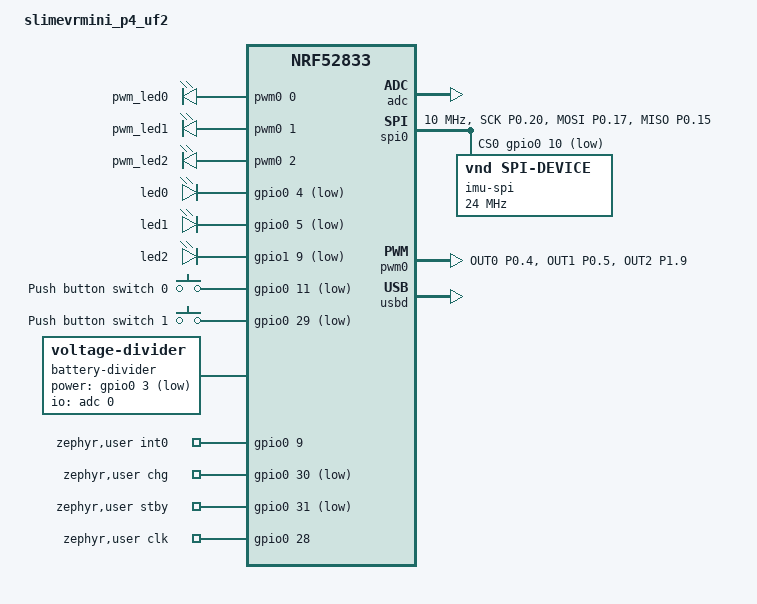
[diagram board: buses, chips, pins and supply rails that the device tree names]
// Copyright (c) 2024 Nordic Semiconductor ASA
// SPDX-License-Identifier: Apache-2.0

/dts-v1/;
#include <nordic/nrf52833_qdaa.dtsi>

//move to dtsi?
&pinctrl {
	spi0_default: spi0_default {
		group1 {
			psels = <NRF_PSEL(SPIM_SCK, 0, 20)>,
					<NRF_PSEL(SPIM_MOSI, 0, 17)>,
					<NRF_PSEL(SPIM_MISO, 0, 15)>;
		};
	};

	spi0_sleep: spi0_sleep {
		group1 {
			psels = <NRF_PSEL(SPIM_SCK, 0, 20)>,
					<NRF_PSEL(SPIM_MOSI, 0, 17)>,
					<NRF_PSEL(SPIM_MISO, 0, 15)>;
			low-power-enable;
		};
	};

	pwm0_default: pwm0_default {
		group1 {
			psels = <NRF_PSEL(PWM_OUT0, 0, 4)>,
					<NRF_PSEL(PWM_OUT1, 0, 5)>,
					<NRF_PSEL(PWM_OUT2, 1, 9)>;
			nordic,drive-mode = <NRF_DRIVE_D0S1>;
			nordic,invert;
		};
	};

	pwm0_sleep: pwm0_sleep {
		group1 {
			psels = <NRF_PSEL(PWM_OUT0, 0, 4)>,
					<NRF_PSEL(PWM_OUT1, 0, 5)>,
					<NRF_PSEL(PWM_OUT2, 1, 9)>;
			low-power-enable;
		};
	};
};
//end

/ {
	model = "slimevrmini_p4_uf2";
	compatible = "slimevrmini_p4_uf2";

	chosen {
		zephyr,sram = &sram0;
		zephyr,flash = &flash0;
		zephyr,console = &cdc_acm_uart0;
		zephyr,shell-uart = &cdc_acm_uart0;
	};

	pwmleds {
		compatible = "pwm-leds";
		pwm_led0: pwm_led_0 {
			pwms = <&pwm0 0 PWM_MSEC(1) PWM_POLARITY_INVERTED>;
		};
		pwm_led1: pwm_led_1 {
			pwms = <&pwm0 1 PWM_MSEC(1) PWM_POLARITY_INVERTED>;
		};
		pwm_led2: pwm_led_2 {
			pwms = <&pwm0 2 PWM_MSEC(1) PWM_POLARITY_INVERTED>;
		};
	};

    leds {
        compatible = "gpio-leds";
        led0: led_0 {
            gpios = <&gpio0 4 (GPIO_OPEN_DRAIN | GPIO_ACTIVE_LOW)>;
        };
        led1: led_1 {
            gpios = <&gpio0 5 (GPIO_OPEN_DRAIN | GPIO_ACTIVE_LOW)>;
        };
        led2: led_2 {
            gpios = <&gpio1 9 (GPIO_OPEN_DRAIN | GPIO_ACTIVE_LOW)>;
        };
    };

	buttons {
		compatible = "gpio-keys";
		button0: button_0 {
			gpios = <&gpio0 11 (GPIO_PULL_UP | GPIO_ACTIVE_LOW)>;
			label = "Push button switch 0";
		};
		button1: button_1 {
			gpios = <&gpio0 29 (GPIO_PULL_UP | GPIO_ACTIVE_LOW)>;
			label = "Push button switch 1";
		};
	};

	aliases {
		sw0 = &button0;
		sw1 = &button1;
		pwm-led0 = &pwm_led0;
		pwm-led1 = &pwm_led1;
		pwm-led2 = &pwm_led2;
		led0 = &led0;
		led1 = &led1;
		led2 = &led2;
	};

	battery-divider {
		compatible = "voltage-divider";
		status = "okay";
		io-channels = <&adc 0>;
		output-ohms = <40200>;
		full-ohms = <(100000+40200)>;
		power-gpios = <&gpio0 3 (GPIO_OPEN_DRAIN | GPIO_ACTIVE_LOW)>;
	};

	zephyr,user {
		int0-gpios = <&gpio0 9 0>;
		chg-gpios = <&gpio0 30 (GPIO_ACTIVE_LOW | GPIO_PULL_UP)>;
		stby-gpios = <&gpio0 31 (GPIO_ACTIVE_LOW | GPIO_PULL_UP)>;
		clk-gpios = <&gpio0 28 (GPIO_OPEN_DRAIN)>;
	};
};

&reg1 {
	regulator-initial-mode = <NRF5X_REG_MODE_DCDC>;
};

&adc {
	status = "okay";
};

&gpiote {
	status = "okay";
};

&gpio0 {
	status = "okay";
};

&gpio1 {
	status = "okay";
};

&spi0 {
	status = "okay";
	compatible = "nordic,nrf-spim";
	cs-gpios = <&gpio0 10 GPIO_ACTIVE_LOW>;

	pinctrl-0 = <&spi0_default>;
	pinctrl-1 = <&spi0_sleep>;
	pinctrl-names = "default", "sleep";

	clock-frequency = < DT_FREQ_M(10) >;

	imu_spi: imu_spi@0 {
		status = "okay";
		compatible = "vnd,spi-device";
		label = "imu-spi";
		reg = <0>;

		spi-max-frequency = <DT_FREQ_M(24)>;

		// MAG on aux I2C yet not supported #77
	};
};

&pwm0 {
	status = "okay";
	pinctrl-0 = <&pwm0_default>;
	pinctrl-1 = <&pwm0_sleep>;
	pinctrl-names = "default", "sleep";
};

zephyr_udc0: &usbd {
	compatible = "nordic,nrf-usbd";
	status = "okay";
	cdc_acm_uart0: cdc_acm_uart0 {
		compatible = "zephyr,cdc-acm-uart";
	};
};

&nfct {
	status = "disabled";
};
